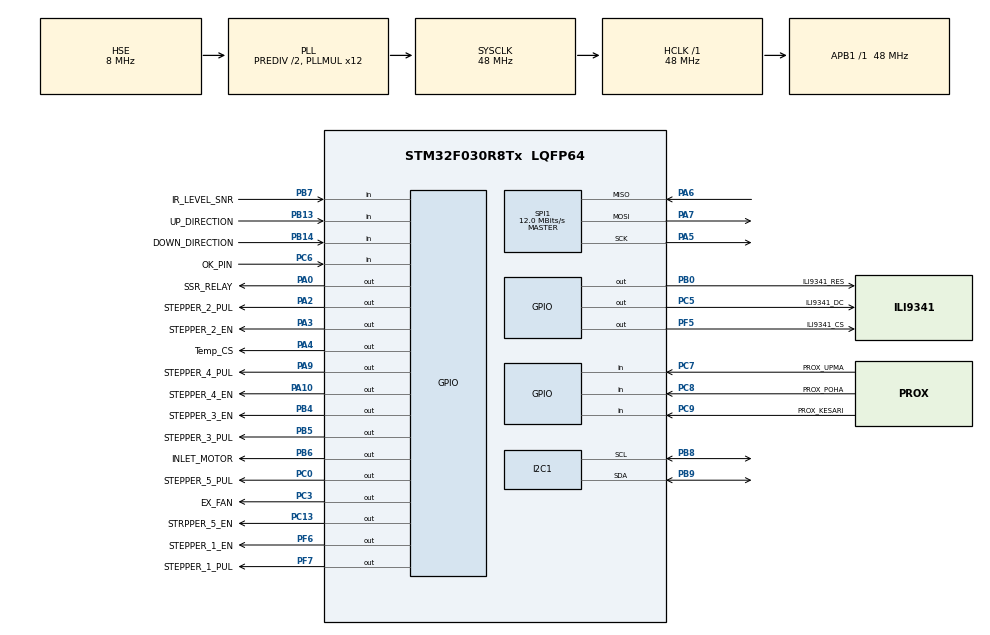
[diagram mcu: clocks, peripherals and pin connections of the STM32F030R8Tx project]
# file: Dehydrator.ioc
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Mcu.Family=STM32F0
Mcu.Name=STM32F030R8Tx
Mcu.Package=LQFP64
NVIC.TIM15_IRQn=true\:0\:0\:false\:false\:true\:true\:true
NVIC.TIM1_BRK_UP_TRG_COM_IRQn=true\:0\:0\:false\:false\:true\:true\:true
NVIC.TIM3_IRQn=true\:0\:0\:false\:false\:true\:true\:true
PA0.GPIO_Label=SSR_RELAY
PA0.Signal=GPIO_Output
PA10.GPIO_Label=STEPPER_4_EN
PA10.Signal=GPIO_Output
PA2.GPIO_Label=STEPPER_2_PUL
PA2.Signal=GPIO_Output
PA3.GPIO_Label=STEPPER_2_EN
PA3.Signal=GPIO_Output
PA4.GPIO_Label=Temp_CS
PA4.Signal=GPIO_Output
PA5.Mode=Full_Duplex_Master
PA5.Signal=SPI1_SCK
PA6.Mode=Full_Duplex_Master
PA6.Signal=SPI1_MISO
PA7.Mode=Full_Duplex_Master
PA7.Signal=SPI1_MOSI
PA9.GPIO_Label=STEPPER_4_PUL
PA9.Signal=GPIO_Output
PB0.GPIO_Label=ILI9341_RES
PB0.Signal=GPIO_Output
PB13.GPIO_Label=UP_DIRECTION
PB13.GPIO_PuPd=GPIO_NOPULL
PB13.Signal=GPIO_Input
PB14.GPIO_Label=DOWN_DIRECTION
PB14.GPIO_PuPd=GPIO_NOPULL
PB14.Signal=GPIO_Input
PB4.GPIO_Label=STEPPER_3_EN
PB4.Signal=GPIO_Output
PB5.GPIO_Label=STEPPER_3_PUL
PB5.Signal=GPIO_Output
PB6.GPIO_Label=INLET_MOTOR
PB6.Signal=GPIO_Output
PB7.GPIO_Label=IR_LEVEL_SNR
PB7.GPIO_PuPd=GPIO_PULLUP
PB7.Signal=GPIO_Input
PB8.Mode=I2C
PB8.Signal=I2C1_SCL
PB9.Mode=I2C
PB9.Signal=I2C1_SDA
PC0.GPIO_Label=STEPPER_5_PUL
PC0.Signal=GPIO_Output
PC13.GPIO_Label=STRPPER_5_EN
PC13.Signal=GPIO_Output
PC3.GPIO_Label=EX_FAN
PC3.Signal=GPIO_Output
PC5.GPIO_Label=ILI9341_DC
PC5.Signal=GPIO_Output
PC6.GPIO_Label=OK_PIN
PC6.GPIO_PuPd=GPIO_NOPULL
PC6.Signal=GPIO_Input
PC7.GPIO_Label=PROX_UPMA
PC7.GPIO_PuPd=GPIO_PULLUP
PC7.Signal=GPIO_Input
PC8.GPIO_Label=PROX_POHA
PC8.GPIO_PuPd=GPIO_PULLUP
PC8.Signal=GPIO_Input
PC9.GPIO_Label=PROX_KESARI
PC9.GPIO_PuPd=GPIO_PULLUP
PC9.Signal=GPIO_Input
PF0-OSC_IN.Mode=HSE-External-Oscillator
PF0-OSC_IN.Signal=RCC_OSC_IN
PF1-OSC_OUT.Mode=HSE-External-Oscillator
PF1-OSC_OUT.Signal=RCC_OSC_OUT
PF5.GPIO_Label=ILI9341_CS
PF5.Signal=GPIO_Output
PF6.GPIO_Label=STEPPER_1_EN
PF6.Signal=GPIO_Output
PF7.GPIO_Label=STEPPER_1_PUL
PF7.Signal=GPIO_Output
ProjectManager.HeapSize=0x200
ProjectManager.StackSize=0x400
ProjectManager.TargetToolchain=STM32CubeIDE
RCC.AHBFreq_Value=48000000
RCC.APB1Freq_Value=48000000
RCC.APB1TimFreq_Value=48000000
RCC.EnbaleCSS=true
RCC.HCLKFreq_Value=48000000
RCC.PLLDivider=RCC_PREDIV_DIV2
RCC.PLLMUL=RCC_PLL_MUL12
RCC.PLLSourceVirtual=RCC_PLLSOURCE_HSE
RCC.SYSCLKFreq_VALUE=48000000
RCC.SYSCLKSource=RCC_SYSCLKSOURCE_PLLCLK
SPI1.BaudRatePrescaler=SPI_BAUDRATEPRESCALER_4
SPI1.CalculateBaudRate=12.0 MBits/s
SPI1.DataSize=SPI_DATASIZE_8BIT
SPI1.Direction=SPI_DIRECTION_2LINES
SPI1.Mode=SPI_MODE_MASTER
SPI1.VirtualType=VM_MASTER
TIM1.Period=65535
TIM15.Period=959
TIM15.Prescaler=999
TIM3.Period=4799
TIM3.Prescaler=99
VP_TIM15_VS_ClockSourceINT.Mode=Internal
VP_TIM1_VS_ClockSourceINT.Mode=Internal
VP_TIM3_VS_ClockSourceINT.Mode=Internal
board=custom

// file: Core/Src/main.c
/* USER CODE BEGIN Header */
/**
  ******************************************************************************
  * @file           : main.c
  * @brief          : Main program body
  ******************************************************************************
  * @attention
  *
  * <h2><center>&copy; Copyright (c) 2020 STMicroelectronics.
  * All rights reserved.</center></h2>
  *
  * This software component is licensed by ST under BSD 3-Clause license,
  * the "License"; You may not use this file except in compliance with the
  * License. You may obtain a copy of the License at:
  *                        opensource.org/licenses/BSD-3-Clause
  *
  ******************************************************************************
  */
/* USER CODE END Header */
#include "main.h"

/* USER CODE BEGIN Includes */
#include "eeprom.h"
#include "menu.h"
#include "rotary.h"
#include "macro.h"
#include "display.h"
#include "variables.h"
/* USER CODE END Includes */

/* USER CODE BEGIN PM */
#define FULL_STEP        1.8
#define HALF_STEP        0.9
#define ONE_BY_FOURTH    0.45
#define period           100
#define ONE_BY_EIGHT     0.225
#define Timer_clock      42000000
/* USER CODE END PM */

I2C_HandleTypeDef hi2c1;

SPI_HandleTypeDef hspi1;

TIM_HandleTypeDef htim1;
TIM_HandleTypeDef htim3;
TIM_HandleTypeDef htim15;

/* USER CODE BEGIN PV */
struct Menu* head = NULL;
//struct Menu* previousMenu = NULL;
uint8_t Txbuf[3];
uint8_t buf[5];
uint32_t count_sve[50];
/*const char menu_1[] = "MENU 1";
const char menu_2[] = "MENU 2";
const char menu_3[] = "MENU 3";
const char menu_4[] = "MENU 4";
const char menu_5[] = "MENU 5";
const char menu_6[] = "MENU 6";
const char menu_7[] = "MENU 7";
const char menu_8[] = "MENU 8";*/
volatile uint16_t temperature;
volatile uint8_t uart_RX;
volatile uint8_t level_f=0;
uint8_t uart_buff[70];
uint8_t uart_count;
uint8_t uartReceivedFlag;
uint8_t backKeyValue;
uint8_t pin =0;
__esp_queue espQueue;
//IWDG_HandleTypeDef hiwdg;
CIRCQUEUE_DEF(espQueue,10);
//__ESP_UPDATE espBuf[20];
//extern __homeScreenPage machineState;
extern __homeScreenPage machineState;
extern __homeScreenPage currentMachineState;

extern const uint8_t logo[];
extern const uint8_t logo_200_200[];
extern const uint8_t logo_100_100[];
extern const uint8_t menuParameters[][26];

uint8_t eepromEspBuf[128];
uint32_t stopDelay;
uint8_t stopCount;

uint8_t stopValue;

uint8_t espDataReceivedFlag;

TM_RE_t RE1_Data;

//__DISPANSE_STATE dispanse_state;
__KEYS__ switchKeys;
__KEY_FLAGS__ keyFlags;
__CANISTER_CHECK canister_check;

extern __Sleep_Settings sleepSettings;
extern __Sleep_Flags  sleepFlag;
extern __Cooking_Settings cookingSettings;
extern __PrintDisplayState printState;
extern __OIL_HEAT_SETTINGS oilHeatSettings;
extern __MANUAL_ manualParameters;

/* USER CODE END PV */

void SystemClock_Config(void);
static void MX_GPIO_Init(void);
static void MX_SPI1_Init(void);
static void MX_TIM3_Init(void);
static void MX_TIM1_Init(void);
static void MX_TIM15_Init(void);
static void MX_I2C1_Init(void);
/* USER CODE BEGIN PFP */
void spi_send_Data(void);
void relay_control(void);
void checkRotaryState(void);
void Switch(void);
void processingState(void);
void displayProcess(void);
void user_printf(const char * format, ...);
void SystemInitilization(void);
void CheckStopDetected(void);
void GetRotaryValue(void);

uint8_t basketDown;
uint8_t basketUp;
uint32_t downDelay;
uint32_t upDelay;
void basketUpDown(void);
__MOTOR_DIRECTION_ previousDirection;

uint16_t prevrcount = 0;

uint16_t rcount;

/* USER CODE END PFP */

/* USER CODE BEGIN 0 */
volatile uint16_t Temper;
extern volatile uint16_t Temperature_value;
uint16_t temp_value = 0,temp_val;

unsigned int TIM1_Steps,TIM3_Steps;
volatile float temp1,temp2;
volatile int rpm,prescaler,frequency;
uint16_t RPM_COUNT;
float step_angle=0;
uint8_t Chamber1_flag=0,Chamber2_flag=0,Chamber3_flag=0,Chamber4_flag=0,
		TIM3_flag=0,TIM1_flag=0;
uint8_t uartRecev;
uint8_t m_selet;
uint32_t count_sve[50];
char eeprom_buff_write[20]="evbsysgg";
char eepromReadBuff[20];
//uint8_t A_flag=0,B_flag=0,C_flag=0,D_flag=0,E_flag=0,F_flag=0,G_flag=0,H_flag=0,P_flag=0,PROX_GUIDEWAY1=0,PROX_GUIDEWAY2=0,PROX_CLEANING=0,PROX_MIXING=0;
enum MOTORS
{
	CHAMBER1=1,
	CHAMBER2,
	CHAMBER3,
	CHAMBER4,
//	stop=0xff

};

enum STEPPER_DIR{

	ANTICLOCKWISE=1,
	CLOCKWISE
};
uint8_t upma_state=0;
uint8_t kesari_state=0;
uint8_t poha_state=0;

/*enum MENU_SEL{

	upma_sel=1,
	kesari_sel,
	poha_sel,
};*/

int size__of_dispaly_par()
{
	return(sizeof(disp_param)/sizeof(struct DISP__));
}
/* USER CODE END 0 */

int main(void)
{

  /* MCU Configuration--------------------------------------------------------*/

  /* Reset of all peripherals, Initializes the Flash interface and the Systick. */
  HAL_Init();

  /* Configure the system clock */
  SystemClock_Config();

  /* Initialize all configured peripherals */
  MX_GPIO_Init();
  MX_SPI1_Init();
  MX_TIM3_Init();
  MX_TIM1_Init();
  MX_TIM15_Init();
  MX_I2C1_Init();
  /* USER CODE BEGIN 2 */

//  user_printf("System Initialised\r\n");

  //SystemInitilization();

  HAL_TIM_Base_Start_IT(&htim3);
//  HAL_TIM_Base_Start_IT(&htim1);
  HAL_TIM_Base_Start_IT(&htim15);
//  HAL_I2C_Master_Transmit(&hi2c2, TEMP_ADDR, i2c_buf, 1, 10);
//  HAL_I2C_Master_Receive(&hi2c2, TEMP_ADDR, i2c_buf, 2, 10);

  init();
  eeprom_init();
//  STEPPER_ROTATE(100, 4000, 1, CHAMBER2);
//  while(Chamber2_flag);
//  HAL_GPIO_WritePin(EX_FAN_GPIO_Port, EX_FAN_Pin , SET);
//  HAL_Delay(1000);
//  STEPPER_ROTATE(100, 2200, 1, CHAMBER2);
//   while(Chamber2_flag);
//   //HAL_Delay(1000);
//  STEPPER_ROTATE(100, 1200, 1, CHAMBER4);
//  while(Chamber4_flag);
  /* USER CODE END 2 */

  /* Infinite loop */
  while (1)
  {

    /* USER CODE BEGIN 3 */
//	  TM_RE_Get(&RE1_Data);
//	  GetRotaryValue();

	  MachineProcess();
	  switchDetected();
	  DisplayPrint();
	  ReadTemperature(&Temperature_value);
//	  Temper=GetempData(&temperature);

//	  if(espDataReceivedFlag == 1)
//	  {
//		  addMenuUart(&head,eepromEspBuf);
//
//		  espDataReceivedFlag = 0;
//	  }
//	  HAL_IWDG_Refresh(&hiwdg);

//	  basketUpDown();

  }
  /* USER CODE END 3 */
}

void SystemClock_Config(void)
{
  RCC_OscInitTypeDef RCC_OscInitStruct = {0};
  RCC_ClkInitTypeDef RCC_ClkInitStruct = {0};
  RCC_PeriphCLKInitTypeDef PeriphClkInit = {0};

  /** Initializes the RCC Oscillators according to the specified parameters
  * in the RCC_OscInitTypeDef structure.
  */
  RCC_OscInitStruct.OscillatorType = RCC_OSCILLATORTYPE_HSI|RCC_OSCILLATORTYPE_HSE;
  RCC_OscInitStruct.HSEState = RCC_HSE_ON;
  RCC_OscInitStruct.HSIState = RCC_HSI_ON;
  RCC_OscInitStruct.HSICalibrationValue = RCC_HSICALIBRATION_DEFAULT;
  RCC_OscInitStruct.PLL.PLLState = RCC_PLL_ON;
  RCC_OscInitStruct.PLL.PLLSource = RCC_PLLSOURCE_HSE;
  RCC_OscInitStruct.PLL.PLLMUL = RCC_PLL_MUL12;
  RCC_OscInitStruct.PLL.PREDIV = RCC_PREDIV_DIV2;
  if (HAL_RCC_OscConfig(&RCC_OscInitStruct) != HAL_OK)
  {
    Error_Handler();
  }
  /** Initializes the CPU, AHB and APB buses clocks
  */
  RCC_ClkInitStruct.ClockType = RCC_CLOCKTYPE_HCLK|RCC_CLOCKTYPE_SYSCLK
                              |RCC_CLOCKTYPE_PCLK1;
  RCC_ClkInitStruct.SYSCLKSource = RCC_SYSCLKSOURCE_PLLCLK;
  RCC_ClkInitStruct.AHBCLKDivider = RCC_SYSCLK_DIV1;
  RCC_ClkInitStruct.APB1CLKDivider = RCC_HCLK_DIV1;

  if (HAL_RCC_ClockConfig(&RCC_ClkInitStruct, FLASH_LATENCY_1) != HAL_OK)
  {
    Error_Handler();
  }
  PeriphClkInit.PeriphClockSelection = RCC_PERIPHCLK_I2C1;
  PeriphClkInit.I2c1ClockSelection = RCC_I2C1CLKSOURCE_HSI;
  if (HAL_RCCEx_PeriphCLKConfig(&PeriphClkInit) != HAL_OK)
  {
    Error_Handler();
  }
  /** Enables the Clock Security System
  */
  HAL_RCC_EnableCSS();
}

static void MX_I2C1_Init(void)
{

  hi2c1.Instance = I2C1;
  hi2c1.Init.Timing = 0x2000090E;
  hi2c1.Init.OwnAddress1 = 0;
  hi2c1.Init.AddressingMode = I2C_ADDRESSINGMODE_7BIT;
  hi2c1.Init.DualAddressMode = I2C_DUALADDRESS_DISABLE;
  hi2c1.Init.OwnAddress2 = 0;
  hi2c1.Init.OwnAddress2Masks = I2C_OA2_NOMASK;
  hi2c1.Init.GeneralCallMode = I2C_GENERALCALL_DISABLE;
  hi2c1.Init.NoStretchMode = I2C_NOSTRETCH_DISABLE;
  if (HAL_I2C_Init(&hi2c1) != HAL_OK)
  {
    Error_Handler();
  }
  /** Configure Analogue filter
  */
  if (HAL_I2CEx_ConfigAnalogFilter(&hi2c1, I2C_ANALOGFILTER_ENABLE) != HAL_OK)
  {
    Error_Handler();
  }
  /** Configure Digital filter
  */
  if (HAL_I2CEx_ConfigDigitalFilter(&hi2c1, 0) != HAL_OK)
  {
    Error_Handler();
  }

}

static void MX_SPI1_Init(void)
{

  /* SPI1 parameter configuration*/
  hspi1.Instance = SPI1;
  hspi1.Init.Mode = SPI_MODE_MASTER;
  hspi1.Init.Direction = SPI_DIRECTION_2LINES;
  hspi1.Init.DataSize = SPI_DATASIZE_8BIT;
  hspi1.Init.CLKPolarity = SPI_POLARITY_LOW;
  hspi1.Init.CLKPhase = SPI_PHASE_1EDGE;
  hspi1.Init.NSS = SPI_NSS_SOFT;
  hspi1.Init.BaudRatePrescaler = SPI_BAUDRATEPRESCALER_4;
  hspi1.Init.FirstBit = SPI_FIRSTBIT_MSB;
  hspi1.Init.TIMode = SPI_TIMODE_DISABLE;
  hspi1.Init.CRCCalculation = SPI_CRCCALCULATION_DISABLE;
  hspi1.Init.CRCPolynomial = 7;
  hspi1.Init.CRCLength = SPI_CRC_LENGTH_DATASIZE;
  hspi1.Init.NSSPMode = SPI_NSS_PULSE_ENABLE;
  if (HAL_SPI_Init(&hspi1) != HAL_OK)
  {
    Error_Handler();
  }

}

static void MX_TIM1_Init(void)
{

  TIM_ClockConfigTypeDef sClockSourceConfig = {0};
  TIM_MasterConfigTypeDef sMasterConfig = {0};

  htim1.Instance = TIM1;
  htim1.Init.Prescaler = 0;
  htim1.Init.CounterMode = TIM_COUNTERMODE_UP;
  htim1.Init.Period = 65535;
  htim1.Init.ClockDivision = TIM_CLOCKDIVISION_DIV1;
  htim1.Init.RepetitionCounter = 0;
  htim1.Init.AutoReloadPreload = TIM_AUTORELOAD_PRELOAD_DISABLE;
  if (HAL_TIM_Base_Init(&htim1) != HAL_OK)
  {
    Error_Handler();
  }
  sClockSourceConfig.ClockSource = TIM_CLOCKSOURCE_INTERNAL;
  if (HAL_TIM_ConfigClockSource(&htim1, &sClockSourceConfig) != HAL_OK)
  {
    Error_Handler();
  }
  sMasterConfig.MasterOutputTrigger = TIM_TRGO_RESET;
  sMasterConfig.MasterSlaveMode = TIM_MASTERSLAVEMODE_DISABLE;
  if (HAL_TIMEx_MasterConfigSynchronization(&htim1, &sMasterConfig) != HAL_OK)
  {
    Error_Handler();
  }

}

static void MX_TIM3_Init(void)
{

  TIM_ClockConfigTypeDef sClockSourceConfig = {0};
  TIM_MasterConfigTypeDef sMasterConfig = {0};

  htim3.Instance = TIM3;
  htim3.Init.Prescaler = 99;
  htim3.Init.CounterMode = TIM_COUNTERMODE_UP;
  htim3.Init.Period = 4799;
  htim3.Init.ClockDivision = TIM_CLOCKDIVISION_DIV1;
  htim3.Init.AutoReloadPreload = TIM_AUTORELOAD_PRELOAD_DISABLE;
  if (HAL_TIM_Base_Init(&htim3) != HAL_OK)
  {
    Error_Handler();
  }
  sClockSourceConfig.ClockSource = TIM_CLOCKSOURCE_INTERNAL;
  if (HAL_TIM_ConfigClockSource(&htim3, &sClockSourceConfig) != HAL_OK)
  {
    Error_Handler();
  }
  sMasterConfig.MasterOutputTrigger = TIM_TRGO_RESET;
  sMasterConfig.MasterSlaveMode = TIM_MASTERSLAVEMODE_DISABLE;
  if (HAL_TIMEx_MasterConfigSynchronization(&htim3, &sMasterConfig) != HAL_OK)
  {
    Error_Handler();
  }

}

static void MX_TIM15_Init(void)
{

  TIM_ClockConfigTypeDef sClockSourceConfig = {0};
  TIM_MasterConfigTypeDef sMasterConfig = {0};

  htim15.Instance = TIM15;
  htim15.Init.Prescaler = 999;
  htim15.Init.CounterMode = TIM_COUNTERMODE_UP;
  htim15.Init.Period = 959;
  htim15.Init.ClockDivision = TIM_CLOCKDIVISION_DIV1;
  htim15.Init.RepetitionCounter = 0;
  htim15.Init.AutoReloadPreload = TIM_AUTORELOAD_PRELOAD_DISABLE;
  if (HAL_TIM_Base_Init(&htim15) != HAL_OK)
  {
    Error_Handler();
  }
  sClockSourceConfig.ClockSource = TIM_CLOCKSOURCE_INTERNAL;
  if (HAL_TIM_ConfigClockSource(&htim15, &sClockSourceConfig) != HAL_OK)
  {
    Error_Handler();
  }
  sMasterConfig.MasterOutputTrigger = TIM_TRGO_RESET;
  sMasterConfig.MasterSlaveMode = TIM_MASTERSLAVEMODE_DISABLE;
  if (HAL_TIMEx_MasterConfigSynchronization(&htim15, &sMasterConfig) != HAL_OK)
  {
    Error_Handler();
  }

}

static void MX_GPIO_Init(void)
{
  GPIO_InitTypeDef GPIO_InitStruct = {0};

  /* GPIO Ports Clock Enable */
  __HAL_RCC_GPIOC_CLK_ENABLE();
  __HAL_RCC_GPIOF_CLK_ENABLE();
  __HAL_RCC_GPIOA_CLK_ENABLE();
  __HAL_RCC_GPIOB_CLK_ENABLE();

  /*Configure GPIO pin Output Level */
  HAL_GPIO_WritePin(GPIOC, STRPPER_5_EN_Pin|STEPPER_5_PUL_Pin|EX_FAN_Pin|ILI9341_DC_Pin, GPIO_PIN_RESET);

  /*Configure GPIO pin Output Level */
  HAL_GPIO_WritePin(GPIOA, SSR_RELAY_Pin|STEPPER_2_PUL_Pin|STEPPER_2_EN_Pin|Temp_CS_Pin
                          |STEPPER_4_PUL_Pin|STEPPER_4_EN_Pin, GPIO_PIN_RESET);

  /*Configure GPIO pin Output Level */
  HAL_GPIO_WritePin(GPIOF, ILI9341_CS_Pin|STEPPER_1_EN_Pin|STEPPER_1_PUL_Pin, GPIO_PIN_RESET);

  /*Configure GPIO pin Output Level */
  HAL_GPIO_WritePin(GPIOB, ILI9341_RES_Pin|STEPPER_3_EN_Pin|STEPPER_3_PUL_Pin|INLET_MOTOR_Pin, GPIO_PIN_RESET);

  /*Configure GPIO pins : STRPPER_5_EN_Pin STEPPER_5_PUL_Pin EX_FAN_Pin ILI9341_DC_Pin */
  GPIO_InitStruct.Pin = STRPPER_5_EN_Pin|STEPPER_5_PUL_Pin|EX_FAN_Pin|ILI9341_DC_Pin;
  GPIO_InitStruct.Mode = GPIO_MODE_OUTPUT_PP;
  GPIO_InitStruct.Pull = GPIO_NOPULL;
  GPIO_InitStruct.Speed = GPIO_SPEED_FREQ_LOW;
  HAL_GPIO_Init(GPIOC, &GPIO_InitStruct);

  /*Configure GPIO pins : SSR_RELAY_Pin STEPPER_2_PUL_Pin STEPPER_2_EN_Pin Temp_CS_Pin
                           STEPPER_4_PUL_Pin STEPPER_4_EN_Pin */
  GPIO_InitStruct.Pin = SSR_RELAY_Pin|STEPPER_2_PUL_Pin|STEPPER_2_EN_Pin|Temp_CS_Pin
                          |STEPPER_4_PUL_Pin|STEPPER_4_EN_Pin;
  GPIO_InitStruct.Mode = GPIO_MODE_OUTPUT_PP;
  GPIO_InitStruct.Pull = GPIO_NOPULL;
  GPIO_InitStruct.Speed = GPIO_SPEED_FREQ_LOW;
  HAL_GPIO_Init(GPIOA, &GPIO_InitStruct);

  /*Configure GPIO pins : ILI9341_CS_Pin STEPPER_1_EN_Pin STEPPER_1_PUL_Pin */
  GPIO_InitStruct.Pin = ILI9341_CS_Pin|STEPPER_1_EN_Pin|STEPPER_1_PUL_Pin;
  GPIO_InitStruct.Mode = GPIO_MODE_OUTPUT_PP;
  GPIO_InitStruct.Pull = GPIO_NOPULL;
  GPIO_InitStruct.Speed = GPIO_SPEED_FREQ_LOW;
  HAL_GPIO_Init(GPIOF, &GPIO_InitStruct);

  /*Configure GPIO pins : ILI9341_RES_Pin STEPPER_3_EN_Pin STEPPER_3_PUL_Pin INLET_MOTOR_Pin */
  GPIO_InitStruct.Pin = ILI9341_RES_Pin|STEPPER_3_EN_Pin|STEPPER_3_PUL_Pin|INLET_MOTOR_Pin;
  GPIO_InitStruct.Mode = GPIO_MODE_OUTPUT_PP;
  GPIO_InitStruct.Pull = GPIO_NOPULL;
  GPIO_InitStruct.Speed = GPIO_SPEED_FREQ_LOW;
  HAL_GPIO_Init(GPIOB, &GPIO_InitStruct);

  /*Configure GPIO pins : UP_DIRECTION_Pin DOWN_DIRECTION_Pin */
  GPIO_InitStruct.Pin = UP_DIRECTION_Pin|DOWN_DIRECTION_Pin;
  GPIO_InitStruct.Mode = GPIO_MODE_INPUT;
  GPIO_InitStruct.Pull = GPIO_NOPULL;
  HAL_GPIO_Init(GPIOB, &GPIO_InitStruct);

  /*Configure GPIO pin : OK_PIN_Pin */
  GPIO_InitStruct.Pin = OK_PIN_Pin;
  GPIO_InitStruct.Mode = GPIO_MODE_INPUT;
  GPIO_InitStruct.Pull = GPIO_NOPULL;
  HAL_GPIO_Init(OK_PIN_GPIO_Port, &GPIO_InitStruct);

  /*Configure GPIO pins : PROX_UPMA_Pin PROX_POHA_Pin PROX_KESARI_Pin */
  GPIO_InitStruct.Pin = PROX_UPMA_Pin|PROX_POHA_Pin|PROX_KESARI_Pin;
  GPIO_InitStruct.Mode = GPIO_MODE_INPUT;
  GPIO_InitStruct.Pull = GPIO_PULLUP;
  HAL_GPIO_Init(GPIOC, &GPIO_InitStruct);

  /*Configure GPIO pin : IR_LEVEL_SNR_Pin */
  GPIO_InitStruct.Pin = IR_LEVEL_SNR_Pin;
  GPIO_InitStruct.Mode = GPIO_MODE_INPUT;
  GPIO_InitStruct.Pull = GPIO_PULLUP;
  HAL_GPIO_Init(IR_LEVEL_SNR_GPIO_Port, &GPIO_InitStruct);

}

/* USER CODE BEGIN 4 */

void init(void) {
//	HAL_Delay(100);

	HAL_GPIO_WritePin(INLET_MOTOR_GPIO_Port, INLET_MOTOR_Pin, RESET);
    ILI9341_Unselect();

    HAL_Delay(100);
    //ILI9341_TouchUnselect();
    ILI9341_Init();

    HAL_Delay(100);

    //ILI9341_FillScreen(ILI9341_WHITE);

    //HAL_Delay(10);

    //ILI9341_DrawImage((ILI9341_WIDTH - 200) / 2, (ILI9341_HEIGHT - 200) / 2, 100, 100, (const uint8_t*)logo_100_100);

    //HAL_Delay(3000);

    ILI9341_FillScreen(ILI9341_WHITE);

    HAL_Delay(100);
    ILI9341_WriteString1(100, 12*10, "DEHYDRATOR", ILI9341_BLACK, ILI9341_WHITE);

    HAL_Delay(100);
}

/*
void HAL_UART_RxCpltCallback(UART_HandleTypeDef *huart)
{
	if(huart->Instance == USART2)
	{
		uart_buff[uart_count] = (uint8_t)uart_RX;
		uart_count++;
		if(uart_buff[63] == 0x12)
		{
			uart_count = 0;
//			FryerState = updateMenu;
			espDataReceivedFlag = 1;

		}

		 HAL_UART_Receive_IT(&huart2,&uart_RX, 1);
	}
}
*/

uint8_t pushESPData(__esp_queue * qptr,uint8_t data[])
{
	uint8_t next = qptr->head + 1;

	memcpy(eepromEspBuf,data,32);

	if(next >= qptr->maxLen)
		next = 0;

	if(next == qptr->tail)
		return -1;

	ee24_write(ESP_MENU_EEPROM_START(qptr->head),eepromEspBuf,8,500);

	ee24_write(ESP_MENU_EEPROM_START(qptr->head)+ 8,&eepromEspBuf[8],8,500);

	ee24_write(ESP_MENU_EEPROM_START(qptr->head)+ 16,&eepromEspBuf[16],8,500);

	ee24_write(ESP_MENU_EEPROM_START(qptr->head)+24,&eepromEspBuf[24],8,500);

	qptr->head = next;

	ee24_write(ESP_EEPROM_HEAD,&next,1,200);

	memset(uart_buff,0,sizeof(uart_buff));

	return 0;
}

uint8_t updateESPData(__esp_queue * qptr)
{
    if((machineState == MachineIdle))
    {
    	if(qptr->head == qptr->tail)
    			return -1;

    	uint8_t next = 0;
    	while(qptr->tail != qptr->head)
    	{

        	ee24_read(ESP_MENU_EEPROM_START(qptr->tail),eepromEspBuf,32,200);

//        	addMenuUart(&head,eepromEspBuf);

        	memset(eepromEspBuf,0,sizeof(eepromEspBuf));

        	next= qptr->tail+1;

        	if(next >= qptr->maxLen)
        		next = 0;

        	qptr->tail = next;
    	}

    	ee24_write(ESP_EEPROM_TAIL,&next,1,200);
//    	getMenu(&head);
    }

    return 0;
}

void HAL_TIM_PeriodElapsedCallback(TIM_HandleTypeDef *htim)
{

	if(htim->Instance == TIM3)
	{

		if(HAL_GPIO_ReadPin(IR_LEVEL_SNR_GPIO_Port, IR_LEVEL_SNR_Pin) == 0)
		 {
			level_f=0;
		  HAL_GPIO_WritePin(INLET_MOTOR_GPIO_Port, INLET_MOTOR_Pin, RESET);
		 }
		else if(HAL_GPIO_ReadPin(IR_LEVEL_SNR_GPIO_Port, IR_LEVEL_SNR_Pin) == 1)
		 {
			level_f=1;
			 HAL_GPIO_WritePin(INLET_MOTOR_GPIO_Port, INLET_MOTOR_Pin, SET);
		 }

		canister_check.upma_canister = (HAL_GPIO_ReadPin(PROX_UPMA_GPIO_Port, PROX_UPMA_Pin) == RESET)?0:1;
		canister_check.poha_canister = (HAL_GPIO_ReadPin(PROX_POHA_GPIO_Port, PROX_POHA_Pin) == RESET)?0:1;
		canister_check.kesari_canister = (HAL_GPIO_ReadPin(PROX_KESARI_GPIO_Port, PROX_KESARI_Pin) == RESET)?0:1;

	}
//	machineState=water_temp_check;

if(Temperature_value > 70){
	HAL_GPIO_WritePin(SSR_RELAY_GPIO_Port, SSR_RELAY_Pin, RESET);
//	machineState=water_heated;
}
else if(Temperature_value < 70)
{
//	machineState=water_heating;
	HAL_GPIO_WritePin(SSR_RELAY_GPIO_Port, SSR_RELAY_Pin, SET);
}

	if(htim->Instance == TIM15)
	{
			if((HAL_GPIO_ReadPin(DOWN_DIRECTION_GPIO_Port,DOWN_DIRECTION_Pin) == GPIO_PIN_RESET) && HAL_GPIO_ReadPin(UP_DIRECTION_GPIO_Port,UP_DIRECTION_Pin) == GPIO_PIN_RESET)
			{
				switchKeys.PROCESS_CNT++;
				cntButtonPressed = 1;
				if(switchKeys.PROCESS_CNT >=  50)
				{
					switchKeys.PROCESS_CNT = 0;
					keyFlags.upDownPressed = 1;
					displayProcessCnt = 1;
					machineState = displayCnt;
				}
			}
			else
			{
				switchKeys.PROCESS_CNT = 0;
				keyFlags.upDownPressed = 0;
				displayProcessCnt = 0;
				cntButtonPressed = 0;
			}
			if((HAL_GPIO_ReadPin(UP_DIRECTION_GPIO_Port,UP_DIRECTION_Pin) == GPIO_PIN_RESET) && (HAL_GPIO_ReadPin(OK_PIN_GPIO_Port,OK_PIN_Pin)  == GPIO_PIN_RESET))
			{
				switchKeys.EEPROM_RESET++;
				ResetButtonPressed = 1;
				if(switchKeys.EEPROM_RESET >=  100)
				{
					switchKeys.EEPROM_RESET = 0;
					keyFlags.resetFlag = 1;
//					displayProcessCnt = 1;
					machineState = reset_eeprom;
				}
			}
			else
			{
				switchKeys.EEPROM_RESET = 0;
				keyFlags.resetFlag = 0;
//				displayProcessCnt = 0;
				ResetButtonPressed = 0;
			}
			if(HAL_GPIO_ReadPin(DOWN_DIRECTION_GPIO_Port,DOWN_DIRECTION_Pin) == GPIO_PIN_RESET)
			{
				switchKeys.DOWN++;

				if((switchKeys.DOWN >= 2) && (keyFlags.downFlag == 0) && (cntButtonPressed == 0))
				{
					down_detected = 1;
					switchKeys.DOWN = 0;
					keyFlags.downFlag = 1;
					displayProcessCnt = 0;
				}
			}
			else
			{
				switchKeys.DOWN = 0;
				keyFlags.downFlag = 0;
			}

			if(HAL_GPIO_ReadPin(OK_PIN_GPIO_Port,OK_PIN_Pin)  == GPIO_PIN_RESET)
			{
				switchKeys.OK++;

				if((switchKeys.OK >= 2) && (keyFlags.okFlag == 0)  && (ResetButtonPressed == 0))
				{
					keyFlags.okFlag = 1;
					ok_detected = 1;
					switchKeys.OK = 0;
					displayProcessCnt = 0;
				}
			}
			else
			{
				keyFlags.okFlag = 0;
				switchKeys.OK = 0;
			}

			if(HAL_GPIO_ReadPin(UP_DIRECTION_GPIO_Port,UP_DIRECTION_Pin) == GPIO_PIN_RESET)
			{
				switchKeys.UP++;

				if((switchKeys.UP >= 2) && (keyFlags.upFlag == 0) && (cntButtonPressed == 0) && (ResetButtonPressed == 0))
				{
					keyFlags.upFlag = 1;
					switchKeys.UP = 0;
					up_detected = 1;
					displayProcessCnt = 0;
				}
			}
			else
			{
				keyFlags.upFlag = 0;
				switchKeys.UP = 0;
			}
//		}
	}
}

#if 0
void user_printf(const char * format, ...)
{
	va_list arg;
	uint16_t n;
   char buf[100];

   va_start (arg, format);
   n = vsprintf (buf, format,arg);
   HAL_UART_Transmit(&huart2,(uint8_t*)buf,n,100);
   va_end (arg);

}

void SystemInitilization(void)
{
//	ILI9341_WriteString1(100, 12*10, "11", ILI9341_BLACK, ILI9341_WHITE);
	  rCount = 0;
	  uint8_t dummy[15] = "\0";
	  uint8_t zero = 0;

	  ee24_read(MENU_COUNT,dummy,9,200);

	  recipieCount = dummy[0];

	  if((dummy[1] == 255) || (dummy[1] == 0))
		  oilHeatSettings.preHeatSetTemp = PRE_HEAT_CUTOFF_MIN;
	  else
		  oilHeatSettings.preHeatSetTemp = dummy[1];

	  if((dummy[2] == 255) || (dummy[2] == 0))
		  oilHeatSettings.preHeatCutTemp = PRE_HEAT_CUTOFF_MAX;
	  else
		  oilHeatSettings.preHeatCutTemp = dummy[2];

	  if((dummy[3] == 255) || (dummy[3] == 0))
		  oilHeatSettings.sleepHeatSet = SLEEP_OIL_TEMP_MIN;
	  else
		  oilHeatSettings.sleepHeatSet = dummy[3];

	  if((dummy[4] == 255) || (dummy[4] == 0))
		  oilHeatSettings.sleepHeatCutoff = SLEEP_OIL_TEMP_MAX;
	  else
		  oilHeatSettings.sleepHeatCutoff = dummy[4];

/*	  if((dummy[5] == 255) || (dummy[5] == 0))
		  sleepSettings.sleepHour = 1;
	  else
		  sleepSettings.sleepHour = dummy[5];*/

	  if((dummy[6] == 255) || (dummy[6] == 0))
		  sleepSettings.sleepMinutes = 20;
	  else
		  sleepSettings.sleepMinutes = dummy[6];

/*	  if((dummy[7] == 255) || (dummy[7] == 0))
		  sleepSettings.deepSleepHour = 1;
	  else
		  sleepSettings.deepSleepHour = dummy[7];*/

	  if((dummy[8] == 255) || (dummy[8] == 0))
		  sleepSettings.deepSleepMin = 20;
	  else
		  sleepSettings.deepSleepMin = dummy[8];

	  sleepSettings.sleepTimeout = MIN_TO_SEC((sleepSettings.sleepMinutes));

	  sleepSettings.deepSleepTimeout = MIN_TO_SEC((sleepSettings.deepSleepMin));

	  if((recipieCount == 255) || (recipieCount == 0))
	  {
		  recipieCount = 0;

		  addMenu(&head,menu_1,menuParameters[0]);
		  addMenu(&head,menu_2,menuParameters[1]);
		  addMenu(&head,menu_3,menuParameters[2]);
		  addMenu(&head,menu_4,menuParameters[3]);
		  addMenu(&head,menu_5,menuParameters[4]);
		  addMenu(&head,menu_6,menuParameters[5]);
		  addMenu(&head,menu_7,menuParameters[6]);
		  addMenu(&head,menu_8,menuParameters[7]);

		    ee24_write(COMPLETE_RECIPE_COUNT,&zero,1,100);
		    ee24_write(COMPLETE_RECIPE_COUNT+1,&zero,1,100);
		    ee24_write(COMPLETE_RECIPE_COUNT+2,&zero,1,100);
		    ee24_write(COMPLETE_RECIPE_COUNT+3,&zero,1,100);

		    ee24_write(ESP_EEPROM_HEAD,&zero,1,200);
		    ee24_write(ESP_EEPROM_TAIL,&zero,1,200);
	  }
	  else
	  {

		  getMenu(&head);

//		  ILI9341_FillScreenOffset(ILI9341_WHITE);
	  }
//	previousMenu = head;
//	HAL_GPIO_WritePin(relay_4_GPIO_Port, relay_4_Pin, GPIO_PIN_RESET);
//	HAL_GPIO_WritePin(op_5_GPIO_Port, op_5_Pin, GPIO_PIN_SET);

	ee24_read(ESP_EEPROM_HEAD,&espQueue.head,1,200);
	if((espQueue.head == 255) || (espQueue.head == 0))
	{
		espQueue.head = 0;
	}

	ee24_read(ESP_EEPROM_TAIL,&espQueue.tail,1,200);

	if((espQueue.tail == 255) || (espQueue.tail == 0))
	{
		espQueue.tail = 0;
	}

	  //TM_RE_Init(&RE1_Data, GPIOA, rotary_clk_Pin, GPIOA, rotary_dt_Pin);

	  /* Set rotation mode for rotary 1 */
	  //TM_RE_SetMode(&RE1_Data, TM_RE_Mode_One);

	  ee24_read(MANUAL_MIN_TEMP,dummy,2,200);

		if((dummy[0] == 255) || (dummy[0] == 0))
		{
			manualParameters.manualSetTemp = 170;
		}
		else
			manualParameters.manualSetTemp = dummy[0];

		if((dummy[1] == 255) || (dummy[1] == 0))
		{
			manualParameters.manualCuttOffTemp = 175;
		}
		else
			manualParameters.manualCuttOffTemp = dummy[1];

//		ILI9341_WriteString1(100, 12*10, "xxxxxxxxxxxxxx", ILI9341_BLACK, ILI9341_WHITE);
	sleepFlag.countEnabled = 1;

}
#endif

/*
void driveMotor(__MOTOR_DIRECTION_ direction)
{

//	if(previousDirection != direction)
//	{
		if((direction == upDirection) && (HAL_GPIO_ReadPin(m_forward_switch_GPIO_Port,m_forward_switch_Pin) != GPIO_PIN_RESET))
		{
			HAL_GPIO_WritePin(motor_n1_GPIO_Port, motor_n1_Pin, GPIO_PIN_SET);
			HAL_GPIO_WritePin(motor_n2_GPIO_Port, motor_n2_Pin, GPIO_PIN_RESET);
		}

		if((direction == downDirection) && (HAL_GPIO_ReadPin(m_reverse_switch_GPIO_Port,m_reverse_switch_Pin) != GPIO_PIN_RESET))
		{
			HAL_GPIO_WritePin(motor_n2_GPIO_Port, motor_n2_Pin, GPIO_PIN_SET);
			HAL_GPIO_WritePin(motor_n1_GPIO_Port, motor_n1_Pin, GPIO_PIN_RESET);
		}
//	}
	previousDirection = direction;
}
*/

void basketUpDown(void)
{
	if((HAL_GetTick()-downDelay >= 5000) && (basketDown == 0))
	{
		upDelay=HAL_GetTick();
//		downDelay=HAL_GetTick();

		basketDown = 1;
		basketUp = 0;

		ILI9341_WriteString1(100, 12*10, "DOWN", ILI9341_BLACK, ILI9341_WHITE);

//		HAL_GPIO_WritePin(relay_1_GPIO_Port, relay_1_Pin, GPIO_PIN_SET);

		driveMotor(downDirection);

	}

	if((HAL_GetTick()-upDelay >= 5000) && (basketUp == 0))
	{
		downDelay=HAL_GetTick();
//		upDelay=HAL_GetTick();

		basketUp = 1;
		basketDown = 0;

		ILI9341_WriteString1(100, 12*10, "UP    ", ILI9341_BLACK, ILI9341_WHITE);

//		HAL_GPIO_WritePin(relay_1_GPIO_Port, relay_1_Pin, GPIO_PIN_RESET);
		driveMotor(upDirection);
	}
}

void reverse2(char *str,int len)
{
    int i = 0,j = len-1,temp;

    while(i<j)
    {
        temp = str[i];
        str[i] = str[j];
        str[j] = temp;
        i++;j--;
    }
}

int intToStr(int x,char str[],int d)
{
    int i = 0;

    while(x)
    {
        str[i++] = (x%10) + '0';
        x = x/10;
    }

    while(i < d)
        str[i++] = '0';

    reverse2(str,i);
    str[i] = '\0';
    return i;
}

int intToStrIndex(int x,char str[],int d)
{
    int i = 0;

    while(x)
    {
        str[i++] = (x%10) + '0';
        x = x/10;
    }

    while(i < d)
        str[i++] = '0';

    reverse2(str,i);
    str[i] = '.';
    str[i+1] = ' ';
    i++;
    return i;
}

void GetRotaryValue(void)
{
	  if ((TIM1->CNT > 60000) || (TIM1->CNT <= 0))
	  {
		  TIM1->CNT = 65536/2;
	  }

	  if (prevrcount > rcount)
	  {
		  turnsDetected = 1;
		  direction = 2;
		  prevrcount = rcount;
	  }
	  else if (prevrcount < rcount)
	  {
		  turnsDetected = 1;
		  direction = 1;
		  prevrcount = rcount;
	  }
	  else
	  {

	  }

	  rcount = TIM1->CNT;
}

/**
  * @brief IWDG Initialization Function
  * @param None
  * @retval None
  */
/*void MX_IWDG_Init(void)
{

   USER CODE BEGIN IWDG_Init 0

   USER CODE END IWDG_Init 0

   USER CODE BEGIN IWDG_Init 1

   USER CODE END IWDG_Init 1
  hiwdg.Instance = IWDG;
  hiwdg.Init.Prescaler = IWDG_PRESCALER_4;
  hiwdg.Init.Window = 4095;
  hiwdg.Init.Reload = 4095;
  if (HAL_IWDG_Init(&hiwdg) != HAL_OK)
  {
    Error_Handler();
  }
   USER CODE BEGIN IWDG_Init 2

   USER CODE END IWDG_Init 2

}*/

void DISPANSE_UPMA()
{
	HAL_GPIO_WritePin(EX_FAN_GPIO_Port, EX_FAN_Pin , SET);
	STEPPER_ROTATE(300, 11800, 1, CHAMBER4);//160ml
	while(Chamber4_flag);
	HAL_GPIO_WritePin(EX_FAN_GPIO_Port, EX_FAN_Pin , RESET);
	STEPPER_ROTATE(100, 10500, 1, CHAMBER1);
	while(Chamber1_flag);
	   //HAL_Delay(1000);
	HAL_GPIO_WritePin(EX_FAN_GPIO_Port, EX_FAN_Pin , SET);
	STEPPER_ROTATE(300, 11800, 1, CHAMBER4);
	while(Chamber4_flag);
	HAL_GPIO_WritePin(EX_FAN_GPIO_Port, EX_FAN_Pin , RESET);

}
void DISPANSE_KESARI()
{
	HAL_GPIO_WritePin(EX_FAN_GPIO_Port, EX_FAN_Pin , SET);
	STEPPER_ROTATE(300, 4950, 1, CHAMBER4);
	while(Chamber4_flag);
	HAL_GPIO_WritePin(EX_FAN_GPIO_Port, EX_FAN_Pin , RESET);
	STEPPER_ROTATE(100, 9250, 1, CHAMBER2);
	while(Chamber2_flag);
	   //HAL_Delay(1000);
	HAL_GPIO_WritePin(EX_FAN_GPIO_Port, EX_FAN_Pin , SET);
	STEPPER_ROTATE(300, 4950, 1, CHAMBER4);
	while(Chamber4_flag);
	HAL_GPIO_WritePin(EX_FAN_GPIO_Port, EX_FAN_Pin , RESET);

}
void DISPANSE_POHA()
{
	HAL_GPIO_WritePin(EX_FAN_GPIO_Port, EX_FAN_Pin , SET);
	STEPPER_ROTATE(300, 7130, 1, CHAMBER4);
	while(Chamber4_flag);
	HAL_GPIO_WritePin(EX_FAN_GPIO_Port, EX_FAN_Pin , RESET);
	STEPPER_ROTATE(100, 11400, 1, CHAMBER3);
    while(Chamber3_flag);
     //HAL_Delay(1000);
    HAL_GPIO_WritePin(EX_FAN_GPIO_Port, EX_FAN_Pin , SET);
	STEPPER_ROTATE(300, 7130, 1, CHAMBER4);
	while(Chamber4_flag);
	HAL_GPIO_WritePin(EX_FAN_GPIO_Port, EX_FAN_Pin , RESET);

}
void STEPPER_ROTATE(unsigned int RPM, unsigned int Step, uint8_t Direction, uint8_t MotorSel)
{

	switch(MotorSel){

	case CHAMBER1   : HAL_GPIO_WritePin(STEPPER_1_EN_GPIO_Port, STEPPER_1_EN_Pin, 1);
//	if(Direction == CLOCKWISE)
//		HAL_GPIO_WritePin(CHAMBER1_MOTOR_DIR_GPIO_Port, CHAMBER1_MOTOR_DIR_Pin, 1);
//	else if(Direction == ANTICLOCKWISE)
//		HAL_GPIO_WritePin(CHAMBER1_MOTOR_DIR_GPIO_Port, CHAMBER1_MOTOR_DIR_Pin, 0);
	Chamber1_flag=1;

	break;
	case CHAMBER2   : HAL_GPIO_WritePin(STEPPER_2_EN_GPIO_Port, STEPPER_2_EN_Pin, 1);
//	if(Direction == CLOCKWISE)
//		HAL_GPIO_WritePin(CHAMBER2_MOTOR_DIR_GPIO_Port, CHAMBER2_MOTOR_DIR_Pin, 1);
//	else if(Direction == ANTICLOCKWISE)
//		HAL_GPIO_WritePin(CHAMBER2_MOTOR_DIR_GPIO_Port, CHAMBER2_MOTOR_DIR_Pin, 0);
	Chamber2_flag=1;

	break;

	case CHAMBER3 : HAL_GPIO_WritePin(STEPPER_3_EN_GPIO_Port, STEPPER_3_EN_Pin, 1);
//	if(Direction == CLOCKWISE)
//		HAL_GPIO_WritePin(CHAMBER3_MOTOR_DIR_GPIO_Port, CHAMBER3_MOTOR_DIR_Pin, 1);
//	else if(Direction == ANTICLOCKWISE)
//		HAL_GPIO_WritePin(CHAMBER3_MOTOR_DIR_GPIO_Port, CHAMBER3_MOTOR_DIR_Pin, 0);
	Chamber3_flag=1;

	break;

	case CHAMBER4 : HAL_GPIO_WritePin(STEPPER_4_EN_GPIO_Port, STEPPER_4_EN_Pin, 1);
//	if(Direction == CLOCKWISE)
//		HAL_GPIO_WritePin(CHAMBER4_MOTOR_DIR_GPIO_Port, CHAMBER4_MOTOR_DIR_Pin, 1);
//	else if(Direction == ANTICLOCKWISE)
//		HAL_GPIO_WritePin(CHAMBER4_MOTOR_DIR_GPIO_Port, CHAMBER4_MOTOR_DIR_Pin, 0);
	Chamber4_flag=1;

	break;
	default : break;
	}

	step_angle=HALF_STEP;

		TIM1_Steps=Step*2;
		TIM1_flag=0;

		HAL_TIM_Base_Start_IT(&htim1);
		if(RPM>=300){
			for(RPM_COUNT=1;RPM_COUNT<RPM;RPM_COUNT++){

				temp1=(RPM_COUNT*360)/(step_angle*60);
				temp1=temp1*2;
				frequency=(int)temp1;
				prescaler=(int)Timer_clock/(period*frequency);
				TIM1->CCR1=20;
				TIM1->ARR=(period-1);
				TIM1->PSC=(prescaler-1);
				HAL_Delay(1);

			}
		}
		temp1=(RPM*360)/(step_angle*60);
		temp1=temp1*2;
		frequency=(int)temp1;
		prescaler=(int)Timer_clock/(period*frequency);
		TIM1->CCR1=20;
		TIM1->ARR=(period-1);
		TIM1->PSC=(prescaler-1);

}

void StopAllMotors(){

	/*
	CC1_flag=0;CC2_flag=0;CAKE1_flag=0;CAKE2_flag=0;BP_flag=0,CRUMS_flag=0;TM_flag=0,CHEESE_flag=0;GUIDEWAY_flag=0;
	CLEANING_flag=0;CLEANING2_flag=0;MIXING_flag=0;MIXING2_flag=0;SAUCE_A_flag=0;SAUCE_B_flag=0;WATER_BOILER_flag=0;
	*/

	if(Chamber1_flag==1){
		Chamber1_flag=0;
		HAL_GPIO_WritePin(STEPPER_1_EN_GPIO_Port, STEPPER_1_EN_Pin, 0);
		HAL_GPIO_WritePin(STEPPER_1_PUL_GPIO_Port, STEPPER_1_PUL_Pin, 0);   // Pulse pin since EN is always high
	}
	if(Chamber2_flag==1){
		Chamber2_flag=0;
		HAL_GPIO_WritePin(STEPPER_2_EN_GPIO_Port, STEPPER_2_EN_Pin, 0);
		HAL_GPIO_WritePin(STEPPER_2_PUL_GPIO_Port, STEPPER_2_PUL_Pin, 0);   // Pulse pin since EN is always high
	}
	if(Chamber3_flag==1){
		Chamber3_flag=0;
		HAL_GPIO_WritePin(STEPPER_3_EN_GPIO_Port, STEPPER_3_EN_Pin, 0);
		HAL_GPIO_WritePin(STEPPER_3_PUL_GPIO_Port, STEPPER_3_PUL_Pin, 0);   // Pulse pin since EN is always high
	}
	if(Chamber4_flag==1){
		Chamber4_flag=0;
		HAL_GPIO_WritePin(STEPPER_4_EN_GPIO_Port, STEPPER_4_EN_Pin, 0);
		HAL_GPIO_WritePin(STEPPER_4_PUL_GPIO_Port, STEPPER_4_PUL_Pin, 0);   // Pulse pin since EN is always high
		}

}

/* USER CODE END 4 */

void Error_Handler(void)
{
}

/************************ (C) COPYRIGHT STMicroelectronics *****END OF FILE****/
